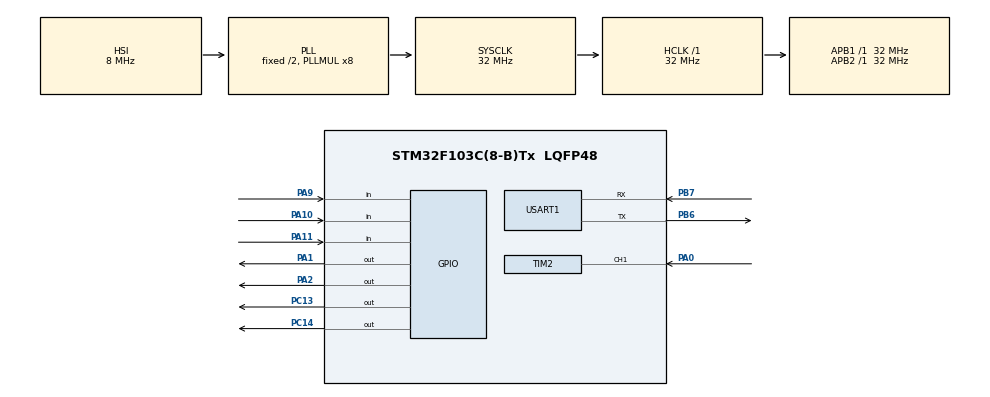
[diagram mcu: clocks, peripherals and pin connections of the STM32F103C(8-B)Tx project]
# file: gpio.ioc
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Mcu.Family=STM32F1
Mcu.Name=STM32F103C(8-B)Tx
Mcu.Package=LQFP48
NVIC.PriorityGroup=NVIC_PRIORITYGROUP_4
NVIC.TIM2_IRQn=true\:0\:0\:false\:false\:true\:true
PA0-WKUP.Signal=S_TIM2_CH1_ETR
PA1.Signal=GPIO_Output
PA10.Signal=GPIO_Input
PA11.GPIO_PuPd=GPIO_PULLUP
PA11.Signal=GPIO_Input
PA2.PinState=GPIO_PIN_SET
PA2.Signal=GPIO_Output
PA9.Signal=GPIO_Input
PB6.Mode=Asynchronous
PB6.Signal=USART1_TX
PB7.Mode=Asynchronous
PB7.Signal=USART1_RX
PC13-TAMPER-RTC.Signal=GPIO_Output
PC14-OSC32_IN.Signal=GPIO_Output
ProjectManager.HeapSize=0x200
ProjectManager.StackSize=0x400
ProjectManager.TargetToolchain=MDK-ARM V5
RCC.AHBFreq_Value=32000000
RCC.APB1Freq_Value=32000000
RCC.APB1TimFreq_Value=32000000
RCC.APB2Freq_Value=32000000
RCC.APB2TimFreq_Value=32000000
RCC.HCLKFreq_Value=32000000
RCC.PLLMUL=RCC_PLL_MUL8
RCC.SYSCLKFreq_VALUE=32000000
RCC.SYSCLKSource=RCC_SYSCLKSOURCE_PLLCLK
RCC.USBFreq_Value=32000000
SH.S_TIM2_CH1_ETR.0=TIM2_CH1,Input_Capture1_from_TI1
TIM2.Channel-Input_Capture1_from_TI1=TIM_CHANNEL_1
TIM2.Period=65535
USART1.VirtualMode=VM_ASYNC
VP_SYS_VS_ND.Mode=No_Debug
VP_TIM2_VS_ClockSourceINT.Mode=Internal
board=gpio

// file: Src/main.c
/**
  ******************************************************************************
  * File Name          : main.c
  * Description        : Main program body
  ******************************************************************************
  ** This notice applies to any and all portions of this file
  * that are not between comment pairs USER CODE BEGIN and
  * USER CODE END. Other portions of this file, whether
  * inserted by the user or by software development tools
  * are owned by their respective copyright owners.
  *
  * COPYRIGHT(c) 2018 STMicroelectronics
  *
  * Redistribution and use in source and binary forms, with or without modification,
  * are permitted provided that the following conditions are met:
  *   1. Redistributions of source code must retain the above copyright notice,
  *      this list of conditions and the following disclaimer.
  *   2. Redistributions in binary form must reproduce the above copyright notice,
  *      this list of conditions and the following disclaimer in the documentation
  *      and/or other materials provided with the distribution.
  *   3. Neither the name of STMicroelectronics nor the names of its contributors
  *      may be used to endorse or promote products derived from this software
  *      without specific prior written permission.
  *
  * THIS SOFTWARE IS PROVIDED BY THE COPYRIGHT HOLDERS AND CONTRIBUTORS "AS IS"
  * AND ANY EXPRESS OR IMPLIED WARRANTIES, INCLUDING, BUT NOT LIMITED TO, THE
  * IMPLIED WARRANTIES OF MERCHANTABILITY AND FITNESS FOR A PARTICULAR PURPOSE ARE
  * DISCLAIMED. IN NO EVENT SHALL THE COPYRIGHT HOLDER OR CONTRIBUTORS BE LIABLE
  * FOR ANY DIRECT, INDIRECT, INCIDENTAL, SPECIAL, EXEMPLARY, OR CONSEQUENTIAL
  * DAMAGES (INCLUDING, BUT NOT LIMITED TO, PROCUREMENT OF SUBSTITUTE GOODS OR
  * SERVICES; LOSS OF USE, DATA, OR PROFITS; OR BUSINESS INTERRUPTION) HOWEVER
  * CAUSED AND ON ANY THEORY OF LIABILITY, WHETHER IN CONTRACT, STRICT LIABILITY,
  * OR TORT (INCLUDING NEGLIGENCE OR OTHERWISE) ARISING IN ANY WAY OUT OF THE USE
  * OF THIS SOFTWARE, EVEN IF ADVISED OF THE POSSIBILITY OF SUCH DAMAGE.
  *
  ******************************************************************************
  */
#include "main.h"
#include "stm32f1xx_hal.h"
#include "tim.h"
#include "usart.h"
#include "gpio.h"

/* USER CODE BEGIN Includes */
#include "user.h"
#include "VT100.h"
/* USER CODE END Includes */

/* USER CODE BEGIN PV */
/* Private variables ---------------------------------------------------------*/
struct __FILE {
    int dummy;
};

/* You need this if you want use printf */
/* Struct FILE is implemented in stdio.h */
FILE __stdout;

int fputc(int ch, FILE *f) {
    /* Do your stuff here */
    /* Send your custom byte */
    /* Send byte to USART */
    //TM_USART_Putc(USART1, ch);
    HAL_UART_Transmit(&huart1,(uint8_t *)&ch,1,0xFFFF);
    /* If everything is OK, you have to return character written */
    return ch;
    /* If character is not correct, you can return EOF (-1) to stop writing */
    //return -1;
}
/* USER CODE END PV */

void SystemClock_Config(void);

/* USER CODE BEGIN PFP */
/* Private function prototypes -----------------------------------------------*/

/* USER CODE END PFP */

int main(void)
{

  /* MCU Configuration----------------------------------------------------------*/

  /* Reset of all peripherals, Initializes the Flash interface and the Systick. */
  HAL_Init();

  /* Configure the system clock */
  SystemClock_Config();

  /* Initialize all configured peripherals */
  MX_GPIO_Init();
  MX_USART1_UART_Init();
  MX_TIM2_Init();

  /* USER CODE BEGIN 2 */
		printf ("Wet Spong-");
printf (CLS);
//	graph ();// display chart
printf (HOME);
	printf ("Wet Spong-");

	HAL_TIM_Base_Start(&htim2);
	//SysTick->CTRL  = 0;
HAL_TIM_IC_Start_IT (&htim2, TIM_CHANNEL_1);
  /* USER CODE END 2 */

  /* Infinite loop */
  /* USER CODE BEGIN WHILE */
  while (1)
  {
		//get_base_value(); //take 16384 samples
		//frequency_average();
		///display_frequency();

		while(HAL_GPIO_ReadPin(GPIOA, GPIO_PIN_11)==0);
		printf ("switch detect1 \n\r");
		while(print_cycle==0)
		{
		switch_states();
		}
		//int val=map(new_frequency, 14000, 35000, 20, 0);
		int val=map(new_frequency,13000, last_frequency, 20, 0);
		dif_val = val-last_val ;
		printf ("val =%i last_val=%i dif_val=%i\n\r",val,last_val,dif_val);
		last_val =val;
		print_cycle =0;
  /* USER CODE END WHILE */

  /* USER CODE BEGIN 3 */
//printf ("val\n\r");
	//	HAL_Delay(1000);
	//	HAL_GPIO_TogglePin(GPIOC, GPIO_PIN_14);
  }
  /* USER CODE END 3 */

}

/** System Clock Configuration
*/
void SystemClock_Config(void)
{

  RCC_OscInitTypeDef RCC_OscInitStruct;
  RCC_ClkInitTypeDef RCC_ClkInitStruct;

    /**Initializes the CPU, AHB and APB busses clocks
    */
  RCC_OscInitStruct.OscillatorType = RCC_OSCILLATORTYPE_HSI;
  RCC_OscInitStruct.HSIState = RCC_HSI_ON;
  RCC_OscInitStruct.HSICalibrationValue = 16;
  RCC_OscInitStruct.PLL.PLLState = RCC_PLL_ON;
  RCC_OscInitStruct.PLL.PLLSource = RCC_PLLSOURCE_HSI_DIV2;
  RCC_OscInitStruct.PLL.PLLMUL = RCC_PLL_MUL8;
  if (HAL_RCC_OscConfig(&RCC_OscInitStruct) != HAL_OK)
  {
    _Error_Handler(__FILE__, __LINE__);
  }

    /**Initializes the CPU, AHB and APB busses clocks
    */
  RCC_ClkInitStruct.ClockType = RCC_CLOCKTYPE_HCLK|RCC_CLOCKTYPE_SYSCLK
                              |RCC_CLOCKTYPE_PCLK1|RCC_CLOCKTYPE_PCLK2;
  RCC_ClkInitStruct.SYSCLKSource = RCC_SYSCLKSOURCE_PLLCLK;
  RCC_ClkInitStruct.AHBCLKDivider = RCC_SYSCLK_DIV1;
  RCC_ClkInitStruct.APB1CLKDivider = RCC_HCLK_DIV1;
  RCC_ClkInitStruct.APB2CLKDivider = RCC_HCLK_DIV1;

  if (HAL_RCC_ClockConfig(&RCC_ClkInitStruct, FLASH_LATENCY_1) != HAL_OK)
  {
    _Error_Handler(__FILE__, __LINE__);
  }

    /**Configure the Systick interrupt time
    */
  HAL_SYSTICK_Config(HAL_RCC_GetHCLKFreq()/1000);

    /**Configure the Systick
    */
  HAL_SYSTICK_CLKSourceConfig(SYSTICK_CLKSOURCE_HCLK);

  /* SysTick_IRQn interrupt configuration */
  HAL_NVIC_SetPriority(SysTick_IRQn, 0, 0);
}

/* USER CODE BEGIN 4 */
void HAL_TIM_IC_CaptureCallback(TIM_HandleTypeDef *htim)
{
  /* Prevent unused argument(s) compilation warning */
  //UNUSED(htim);

	 //HAL_GPIO_TogglePin(LD2_GPIO_Port, LD2_Pin);
  //HAL_GPIO_TogglePin(LD2_GPIO_Port, LD2_Pin);

  //if ((TIM2->SR & TIM_SR_CC1IF) != 0)
//{

	if ((TIM2->SR & TIM_SR_CC1OF) != 0) /* Check the overflow */
 {
 /* Overflow error management */
 gap = 0; /* Reinitialize the laps computing */
 TIM2->SR &= ~(TIM_SR_CC1OF | TIM_SR_CC1IF); /* Clear the flags */

 return;
 }
 if (gap == 0) /* Test if it is the first rising edge */
 {
 count0 = TIM2->CCR1; /* Read the capture counter which clears the
 CC1ICF */
 gap = 1; /* Indicate that the first rising edge has yet been detected */

 }

 else
 {
 count1 = TIM2->CCR1; /* Read the capture counter which clears the
 CC1ICF */
 if (count1 > count0) /* Check capture counter overflow */
 {
 counter = count1 - count0;
	 read=1;
 }
 else
 {
 counter = count1 + 0xFFFF - count0 + 1;
 }
 count0 = count1;

 }
//}
//else
//{
 /* Unexpected Interrupt */
 /* Manage an error for robust application */
//}

}
/* USER CODE END 4 */

void _Error_Handler(char * file, int line)
{
  while(1)
  {
  }
}

/************************ (C) COPYRIGHT STMicroelectronics *****END OF FILE****/
